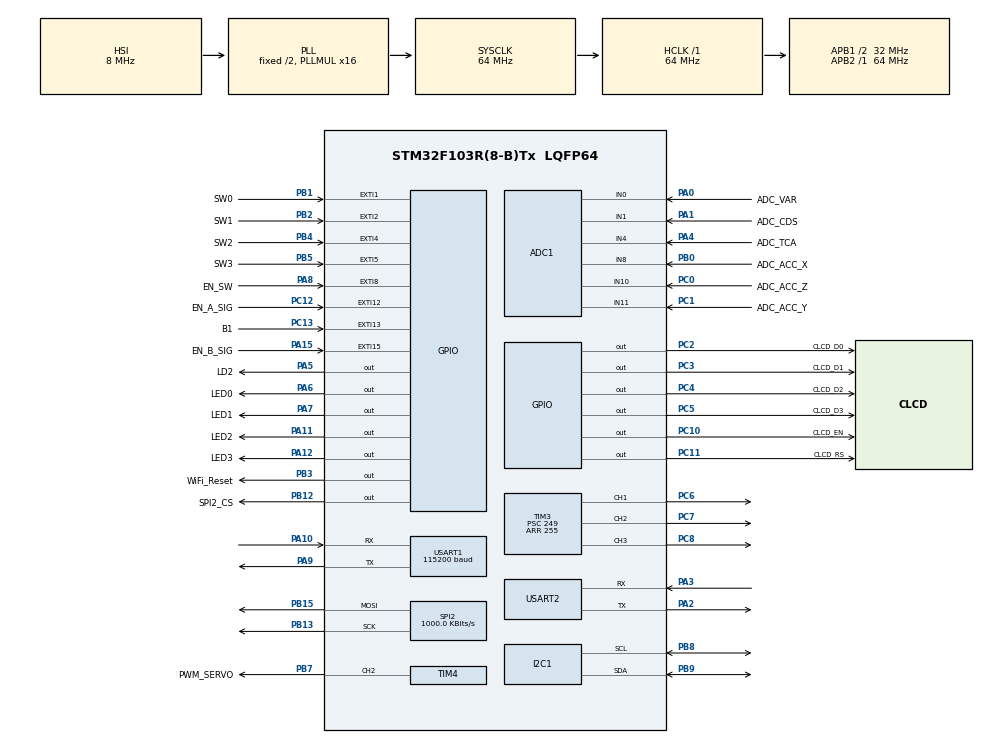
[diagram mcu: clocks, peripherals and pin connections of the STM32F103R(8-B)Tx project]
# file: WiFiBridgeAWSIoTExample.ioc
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ADC1.Channel-0\#ChannelRegularConversion=ADC_CHANNEL_0
ADC1.Channel-1\#ChannelRegularConversion=ADC_CHANNEL_1
ADC1.Channel-2\#ChannelRegularConversion=ADC_CHANNEL_4
ADC1.Channel-3\#ChannelRegularConversion=ADC_CHANNEL_8
ADC1.Channel-4\#ChannelRegularConversion=ADC_CHANNEL_11
ADC1.Channel-5\#ChannelRegularConversion=ADC_CHANNEL_10
ADC1.ContinuousConvMode=ENABLE
ADC1.NbrOfConversion=6
ADC1.NbrOfConversionFlag=1
ADC1.Rank-0\#ChannelRegularConversion=1
ADC1.Rank-1\#ChannelRegularConversion=2
ADC1.Rank-2\#ChannelRegularConversion=3
ADC1.Rank-3\#ChannelRegularConversion=4
ADC1.Rank-4\#ChannelRegularConversion=5
ADC1.Rank-5\#ChannelRegularConversion=6
ADC1.SamplingTime-0\#ChannelRegularConversion=ADC_SAMPLETIME_239CYCLES_5
ADC1.SamplingTime-1\#ChannelRegularConversion=ADC_SAMPLETIME_239CYCLES_5
ADC1.SamplingTime-2\#ChannelRegularConversion=ADC_SAMPLETIME_239CYCLES_5
ADC1.SamplingTime-3\#ChannelRegularConversion=ADC_SAMPLETIME_239CYCLES_5
ADC1.SamplingTime-4\#ChannelRegularConversion=ADC_SAMPLETIME_239CYCLES_5
ADC1.SamplingTime-5\#ChannelRegularConversion=ADC_SAMPLETIME_239CYCLES_5
ADC1.master=1
Dma.ADC1.0.Direction=DMA_PERIPH_TO_MEMORY
Dma.ADC1.0.Instance=DMA1_Channel1
Dma.ADC1.0.MemDataAlignment=DMA_MDATAALIGN_HALFWORD
Dma.ADC1.0.MemInc=DMA_MINC_ENABLE
Dma.ADC1.0.Mode=DMA_CIRCULAR
Dma.ADC1.0.PeriphDataAlignment=DMA_PDATAALIGN_HALFWORD
Dma.ADC1.0.PeriphInc=DMA_PINC_DISABLE
Dma.ADC1.0.Priority=DMA_PRIORITY_LOW
Dma.Request0=ADC1
I2C1.I2C_Mode=I2C_Fast
Mcu.Family=STM32F1
Mcu.Name=STM32F103R(8-B)Tx
Mcu.Package=LQFP64
NVIC.DMA1_Channel1_IRQn=true\:0\:0\:false\:false\:true\:false\:true
NVIC.EXTI15_10_IRQn=true\:0\:0\:false\:false\:true\:true\:true
NVIC.EXTI1_IRQn=true\:0\:0\:false\:false\:true\:true\:true
NVIC.EXTI2_IRQn=true\:0\:0\:false\:false\:true\:true\:true
NVIC.EXTI4_IRQn=true\:0\:0\:false\:false\:true\:true\:true
NVIC.EXTI9_5_IRQn=true\:0\:0\:false\:false\:true\:true\:true
NVIC.PriorityGroup=NVIC_PRIORITYGROUP_4
NVIC.TIM2_IRQn=true\:0\:0\:false\:false\:true\:true\:true
NVIC.USART1_IRQn=true\:0\:0\:false\:false\:true\:true\:false
NVIC.USART2_IRQn=true\:0\:0\:false\:false\:true\:true\:false
PA0-WKUP.GPIO_Label=ADC_VAR
PA0-WKUP.Signal=ADCx_IN0
PA1.GPIO_Label=ADC_CDS
PA1.Signal=ADCx_IN1
PA10.Mode=Asynchronous
PA10.Signal=USART1_RX
PA11.GPIO_Label=LED2
PA11.Signal=GPIO_Output
PA12.GPIO_Label=LED3
PA12.Signal=GPIO_Output
PA13.Mode=Serial_Wire
PA13.Signal=SYS_JTMS-SWDIO
PA14.Mode=Serial_Wire
PA14.Signal=SYS_JTCK-SWCLK
PA15.GPIO_Label=EN_B_SIG
PA15.Signal=GPXTI15
PA2.Mode=Asynchronous
PA2.Signal=USART2_TX
PA3.Mode=Asynchronous
PA3.Signal=USART2_RX
PA4.GPIO_Label=ADC_TCA
PA4.Signal=ADCx_IN4
PA5.GPIO_Label=LD2
PA5.Signal=GPIO_Output
PA6.GPIO_Label=LED0
PA6.Signal=GPIO_Output
PA7.GPIO_Label=LED1
PA7.Signal=GPIO_Output
PA8.GPIO_Label=EN_SW
PA8.GPIO_ModeDefaultEXTI=GPIO_MODE_IT_FALLING
PA8.Signal=GPXTI8
PA9.Mode=Asynchronous
PA9.Signal=USART1_TX
PB0.GPIO_Label=ADC_ACC_X
PB0.Signal=ADCx_IN8
PB1.GPIO_Label=SW0
PB1.GPIO_ModeDefaultEXTI=GPIO_MODE_IT_RISING_FALLING
PB1.Signal=GPXTI1
PB12.GPIO_Label=SPI2_CS
PB12.Signal=GPIO_Output
PB13.Mode=TX_Only_Simplex_Unidirect_Master
PB13.Signal=SPI2_SCK
PB15.Mode=TX_Only_Simplex_Unidirect_Master
PB15.Signal=SPI2_MOSI
PB2.GPIO_Label=SW1
PB2.GPIO_ModeDefaultEXTI=GPIO_MODE_IT_RISING_FALLING
PB2.Signal=GPXTI2
PB3.GPIO_Label=WiFi_Reset
PB3.PinState=GPIO_PIN_SET
PB3.Signal=GPIO_Output
PB4.GPIO_Label=SW2
PB4.GPIO_ModeDefaultEXTI=GPIO_MODE_IT_RISING_FALLING
PB4.Signal=GPXTI4
PB5.GPIO_Label=SW3
PB5.GPIO_ModeDefaultEXTI=GPIO_MODE_IT_RISING_FALLING
PB5.Signal=GPXTI5
PB7.GPIO_Label=PWM_SERVO
PB7.Signal=S_TIM4_CH2
PB8.Mode=I2C
PB8.Signal=I2C1_SCL
PB9.Mode=I2C
PB9.Signal=I2C1_SDA
PC0.GPIO_Label=ADC_ACC_Z
PC0.Signal=ADCx_IN10
PC1.GPIO_Label=ADC_ACC_Y
PC1.Signal=ADCx_IN11
PC10.GPIO_Label=CLCD_EN
PC10.Signal=GPIO_Output
PC11.GPIO_Label=CLCD_RS
PC11.Signal=GPIO_Output
PC12.GPIO_Label=EN_A_SIG
PC12.Signal=GPXTI12
PC13-TAMPER-RTC.GPIO_Label=B1
PC13-TAMPER-RTC.Signal=GPXTI13
PC14-OSC32_IN.Mode=LSE-External-Oscillator
PC14-OSC32_IN.Signal=RCC_OSC32_IN
PC15-OSC32_OUT.Mode=LSE-External-Oscillator
PC15-OSC32_OUT.Signal=RCC_OSC32_OUT
PC2.GPIO_Label=CLCD_D0
PC2.Signal=GPIO_Output
PC3.GPIO_Label=CLCD_D1
PC3.Signal=GPIO_Output
PC4.GPIO_Label=CLCD_D2
PC4.Signal=GPIO_Output
PC5.GPIO_Label=CLCD_D3
PC5.Signal=GPIO_Output
PC6.Signal=S_TIM3_CH1
PC7.Signal=S_TIM3_CH2
PC8.Signal=S_TIM3_CH3
PD0-OSC_IN.Mode=HSE-External-Clock-Source
PD0-OSC_IN.Signal=RCC_OSC_IN
PD1-OSC_OUT.Mode=HSE-External-Clock-Source
PD1-OSC_OUT.Signal=RCC_OSC_OUT
ProjectManager.HeapSize=0x2000
ProjectManager.StackSize=0x400
ProjectManager.TargetToolchain=STM32CubeIDE
RCC.ADCPresc=RCC_ADCPCLK2_DIV8
RCC.AHBFreq_Value=64000000
RCC.APB1CLKDivider=RCC_HCLK_DIV2
RCC.APB1Freq_Value=32000000
RCC.APB1TimFreq_Value=64000000
RCC.APB2Freq_Value=64000000
RCC.APB2TimFreq_Value=64000000
RCC.HCLKFreq_Value=64000000
RCC.PLLMUL=RCC_PLL_MUL16
RCC.SYSCLKFreq_VALUE=64000000
RCC.SYSCLKSource=RCC_SYSCLKSOURCE_PLLCLK
RCC.USBFreq_Value=64000000
SH.ADCx_IN0.0=ADC1_IN0,IN0
SH.ADCx_IN1.0=ADC1_IN1,IN1
SH.ADCx_IN10.0=ADC1_IN10,IN10
SH.ADCx_IN11.0=ADC1_IN11,IN11
SH.ADCx_IN4.0=ADC1_IN4,IN4
SH.ADCx_IN8.0=ADC1_IN8,IN8
SH.S_TIM3_CH1.0=TIM3_CH1,PWM Generation1 CH1
SH.S_TIM3_CH2.0=TIM3_CH2,PWM Generation2 CH2
SH.S_TIM3_CH3.0=TIM3_CH3,PWM Generation3 CH3
SH.S_TIM4_CH2.0=TIM4_CH2,PWM Generation2 CH2
SPI2.BaudRatePrescaler=SPI_BAUDRATEPRESCALER_32
SPI2.CLKPhase=SPI_PHASE_2EDGE
SPI2.CalculateBaudRate=1000.0 KBits/s
SPI2.Direction=SPI_DIRECTION_2LINES
SPI2.Mode=SPI_MODE_MASTER
SPI2.VirtualType=VM_MASTER
TIM2.Period=49999
TIM2.Prescaler=127
TIM3.Channel-PWM\ Generation1\ CH1=TIM_CHANNEL_1
TIM3.Channel-PWM\ Generation2\ CH2=TIM_CHANNEL_2
TIM3.Channel-PWM\ Generation3\ CH3=TIM_CHANNEL_3
TIM3.Period=255
TIM3.Prescaler=249
TIM4.Channel-PWM\ Generation2\ CH2=TIM_CHANNEL_2
TIM4.OCPolarity_2=TIM_OCPOLARITY_LOW
TIM4.Period=19999
TIM4.Prescaler=63
TIM4.Pulse-PWM\ Generation2\ CH2=1500
USART1.BaudRate=115200
USART1.VirtualMode=VM_ASYNC
USART2.VirtualMode=VM_ASYNC
VP_TIM2_VS_ClockSourceINT.Mode=Internal
VP_TIM3_VS_ClockSourceINT.Mode=Internal
VP_TIM4_VS_ClockSourceINT.Mode=Internal
board=custom

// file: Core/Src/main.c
/* USER CODE BEGIN Header */
/**
  ******************************************************************************
  * @file           : main.c
  * @brief          : Main program body
  ******************************************************************************
  * @attention
  *
  * <h2><center>&copy; Copyright (c) 2022 STMicroelectronics.
  * All rights reserved.</center></h2>
  *
  * This software component is licensed by ST under BSD 3-Clause license,
  * the "License"; You may not use this file except in compliance with the
  * License. You may obtain a copy of the License at:
  *                        opensource.org/licenses/BSD-3-Clause
  *
  ******************************************************************************
  */
/* USER CODE END Header */
#include "main.h"

/* USER CODE BEGIN Includes */
#include <stdio.h>
#include <stdlib.h>
#include <string.h>
#include <ctype.h>
#include <math.h>

#include "hdc1080\hdc1080.h"
#include "clcd\clcd.h"

#include "rb.h"
/* USER CODE END Includes */

/* USER CODE BEGIN PM */
//TODO: Set AP / AWSIoT info
#define AP_SSID           " "
#define AP_PWD            " "
#define AP_SECTYPE        "WPA"

#define AWSIoT_ENDPOINT   " "
#define AWSIoT_CLIENTID   " "

//TODO: Enable/Disable Debug Message and Bypass WiFiBridge to PC
#define WIFIBRIDGE_DEBUG      0
#define WIFIBRIDGE_BYPASS     0

#if WIFIBRIDGE_DEBUG
#define DPRINTF(args...) printf(args)
#else
#define DPRINTF(args...)
#endif

#define AT_RECV_LINE_MAX  30

// Publish Topic List
#define PUB_TOPIC_VAR     "EVBDemo/var"
#define PUB_TOPIC_PHOTO   "EVBDemo/photo"
#define PUB_TOPIC_TEMP    "EVBDemo/temp"
#define PUB_TOPIC_ACC     "EVBDemo/3axis"
#define PUB_TOPIC_ENC     "EVBDemo/encoder"
#define PUB_TOPIC_BH002   "EVBDemo/bh002"
#define PUB_TOPIC_SW      "EVBDemo/switch"

// Subscribe Topic List
#define SUB_TOPIC_LED     "EVBDemo/LED"
#define SUB_TOPIC_RGB     "EVBDemo/RGB"
#define SUB_TOPIC_DAC     "EVBDemo/DAC"
#define SUB_TOPIC_SERVO   "EVBDemo/ServoMotor"
#define SUB_TOPIC_CLCD    "EVBDemo/CLCD"

// Raw data ranges from -3g to 3g, sensitivity 330mV/g
#define ACC_RAW_MIN       819
#define ACC_RAW_MAX       3276
// Gravitational acceleration ranges [g]
#define ACC_GRAVITY_MIN   -3
#define ACC_GRAVITY_MAX   3

#define CONVERT_SCALE(x,inMin,inMax,outMin,outMax) ((((float)x - inMin) * ((float)outMax - outMin)) / ((float)inMax - inMin) + outMin)
/* USER CODE END PM */

ADC_HandleTypeDef hadc1;
DMA_HandleTypeDef hdma_adc1;

I2C_HandleTypeDef hi2c1;

SPI_HandleTypeDef hspi2;

TIM_HandleTypeDef htim2;
TIM_HandleTypeDef htim3;
TIM_HandleTypeDef htim4;

UART_HandleTypeDef huart1;
UART_HandleTypeDef huart2;

/* USER CODE BEGIN PV */
//TODO: Fill certificate and key of own device(client)
const char certificate[] =
    "-----BEGIN CERTIFICATE-----\r\n"
    "MIIDWTCCAkGgAwIBAgIUGk10t7Jo3jVUA7wolTqCCnE42ZQwDQYJKoZIhvcNAQEL\r\n"
    " ... "
    "-----END CERTIFICATE-----\r\n";

const char privateKey[] =
    "-----BEGIN RSA PRIVATE KEY-----\r\n"
    "MIIEowIBAAKCAQEAycuVFiGODVtDHo8kd7lxSyPUTaKM4+nxDZWKtFRzVJWO4m4m\r\n"
    " ... "
    "-----END RSA PRIVATE KEY-----\r\n";

RingFifo_t gUart1Fifo, gUart2Fifo;
volatile int gEnCoderCnt;
volatile uint16_t gADCxConvertedValue[6];
volatile uint8_t gRGBPulse[3];
volatile int gfPub, gfSoftReset;

static RingFifo_t *WiFi_RingBuf_Handle;
static volatile uint32_t interval_count, interval_count_start;
static char sStr[2048] = {0};
/* USER CODE END PV */

void SystemClock_Config(void);
static void MX_GPIO_Init(void);
static void MX_DMA_Init(void);
static void MX_ADC1_Init(void);
static void MX_I2C1_Init(void);
static void MX_SPI2_Init(void);
static void MX_TIM2_Init(void);
static void MX_TIM3_Init(void);
static void MX_TIM4_Init(void);
static void MX_USART1_UART_Init(void);
static void MX_USART2_UART_Init(void);
/* USER CODE BEGIN PFP */
#ifdef __GNUC__
#define PUTCHAR_PROTOTYPE int __io_putchar(int ch)
#else
#define PUTCHAR_PROTOTYPE int fputc(int ch, FILE *f)
#endif /* __GNUC__ */

/**
  * @brief  Retargets the C library printf function to the USART.
  * @param  None
  * @retval None
  */
PUTCHAR_PROTOTYPE
{
  /* Place your implementation of fputc here */
  /* e.g. write a character to the UART2 and Loop until the end of transmission */
  if (ch == '\n')
    HAL_UART_Transmit (&huart2, (uint8_t *) "\r", 1, 0xFFFF);
  HAL_UART_Transmit (&huart2, (uint8_t *) & ch, 1, 0xFFFF);

  return ch;
}

/**
 * @brief   DAC7512 Write through SPI
 * @param   data   unsigned short data for send through SPI
 * @retval  0 is success to send the data, 1 is fail
 */
uint8_t
DAC7512_write (unsigned short data)
{
  uint8_t buff[2], ret;

  HAL_GPIO_WritePin (SPI2_CS_GPIO_Port, SPI2_CS_Pin, GPIO_PIN_RESET);

  buff[0] = (uint8_t) (data >> 8);
  buff[1] = (uint8_t) data;

  ret = HAL_SPI_Transmit (&hspi2, buff, 2, 1000);

  if (ret)
    return ret;

  HAL_GPIO_WritePin (SPI2_CS_GPIO_Port, SPI2_CS_Pin, GPIO_PIN_SET);

  return 0;
}

/* internal function */
static void Countdown(int ms) {
  interval_count = (uint32_t)ms;
  interval_count_start = HAL_GetTick();
}

static uint8_t Expired(void) {
  return ((HAL_GetTick() - interval_count_start) >= interval_count);
}

static void Serial_clearbuf(void) {
  RB_clear(WiFi_RingBuf_Handle);
}

static uint8_t ReadStringUntil(char *str, char until) {
  uint8_t i = 0;

  do {
      if (RB_isempty(WiFi_RingBuf_Handle))
        return i;  // if not received yet, return read count
      str[i++] = RB_read(WiFi_RingBuf_Handle);
  } while((str[i - 1] != until));
  str[i] = 0;

  return 0;
}

// ReadATresponseLine
// Receive until timeout or 'OK\r' or 'ERRxx\r'
int ReadATresponseLine(char *rvLine, int nLineBufSize,
                       const char *responseFilter,
                       unsigned long delayMs) {
  int nbLine = 0, idx = 0, rvLineLen = 0;
  char *aLine[AT_RECV_LINE_MAX] = {0};
  char *pszSubstr = NULL;
  int i, ret = 3;

  Countdown(delayMs);
  if (rvLine)
    memset(rvLine, 0, nLineBufSize);

  do {
    if (!RB_isempty(WiFi_RingBuf_Handle)) {
      HAL_Delay(1);

      idx = ReadStringUntil(&sStr[idx], '\r');
      if (idx)
          continue; // if can't read until '\r', continue

      int nLen = strlen(sStr);

      if (nLen > 1 ) {
          if (strncmp(sStr, "\n\r", 2) == 0)
            continue;
        aLine[nbLine] = (char *)malloc(nLen + 1);
        if (aLine[nbLine] == NULL)
          DPRINTF ("Malloc Fail!\n");

        strncpy(aLine[nbLine], sStr, nLen);
        aLine[nbLine][nLen] = 0;

        pszSubstr = strstr(aLine[nbLine], "OK\n");
        if (pszSubstr != NULL) {
          DPRINTF ("Found OK\n");
          nbLine++;
          ret = 0;
          break;
        }
        pszSubstr = strstr(aLine[nbLine], "ERR");
        if (pszSubstr != NULL) {
          if (*(pszSubstr + 5) == '\n') // parse to "ERR%02\n" format
            {
              DPRINTF ("Found ERR\n");
              nbLine++;
              ret = 1;
              break;
            }
        }
        nbLine++;
      }
    }
    if (nbLine >= AT_RECV_LINE_MAX) {
      break;
    }
  } while (!Expired());

  DPRINTF ("Total Line %d\n", nbLine);
  for (i = 0; i < nbLine; i++) {
    DPRINTF ("line[%d]: %s", i, aLine[i]);

    if (rvLine) {
        int aLineLen = strlen(aLine[i]);
        if (responseFilter == NULL) {
            // Not filtering response
            if (nLineBufSize > rvLineLen + aLineLen) {
              strcat(rvLine, aLine[i]);
              rvLineLen += aLineLen;
            }
            else
              DPRINTF ("Out of rvLineBuf\n");
        } else if (strlen(responseFilter) > 0) {
            // Filtering Response
            char *pszSubstr = NULL;

            pszSubstr = strstr(aLine[i], responseFilter);
            if (pszSubstr != NULL) {
                pszSubstr += strlen(responseFilter);
                while (isspace((int)*pszSubstr)) // trim heading
                  {
                    pszSubstr++;
                  }
                char *pTemp = pszSubstr;
                while (pTemp < (aLine[i] + strlen(aLine[i]))) // trim ending
                  {
                    if (*pTemp == '\n' || *pTemp == '\r') // remove cariage return and line feed
                      {
                        *pTemp = 0; // zero terminate string
                        break;
                      }
                    pTemp++;
                  }

                DPRINTF ("Filtered response: %s\n", pszSubstr);
                if (nLineBufSize > aLineLen)
                  strcpy(rvLine, pszSubstr);
                else
                  DPRINTF ("Out of rvLineBuf\n");
            }
        } else {
            // Not filtering response
            if (nLineBufSize > rvLineLen + aLineLen) {
              strcat(rvLine, aLine[i]);
              rvLineLen += aLineLen;
            }
            else
              DPRINTF ("Out of rvLineBuf\n");
        }
    }

    free(aLine[i]);
  }

  return ret;
}
// sendATCmd
/**
 * @brief   Send AT command and Receive response
 *
 * @details
 * @note
 *
 * @param   pCmd            Reference to the Command Buffer
 * @param   pResponse       Reference to the Response Buffer, If not use can set NULL
 * @param   responseBufSize
 * @param   pResponseFilter Filter string in response, If use response buffer copy from pointer after filter string to CR/LF.
 * @param   waitDelayMs     wait Delay for Response, If set 0, It immediate return(Non-Block)
 *
 * @return  Success 0, Fail 1 or 3. If not zero wait delay, it receive response data.
 *          When receive response,
 *          it's 'OK' return 0,
 *          it's 'ERR' return 1,
 *          when timeout return 3
 * */
int SendATcmd(const char *pCmd, char *pResponse, int responseBufSize,
              const char *pResponseFilter,
              unsigned long waitDelayMs) {
  int ret = 0;

  memset(pResponse, 0, responseBufSize);

  DPRINTF ("sendATcmd: %s", pCmd);

  ret = HAL_UART_Transmit(&huart1, (uint8_t *)pCmd, strlen(pCmd), waitDelayMs + 500);

  if (waitDelayMs && !ret)
    {
      ret = ReadATresponseLine(pResponse, responseBufSize, pResponseFilter, waitDelayMs);

      if (ret == 0) {
        DPRINTF ("...ATcmd OK\n");
      } else if (ret == 1) {
        DPRINTF ("...ATcmd Fails\n");
      } else {
        DPRINTF ("...ATcmd not response\n");
      }
    }

  return ret;
}

#define WIFI_RESET_PORT       WiFi_Reset_GPIO_Port
#define WIFI_RESET_PIN        WiFi_Reset_Pin
void WiFiBridge_SoftReset()
{
  HAL_GPIO_WritePin(WIFI_RESET_PORT, WIFI_RESET_PIN, GPIO_PIN_RESET);
  HAL_Delay(5);
  HAL_GPIO_WritePin(WIFI_RESET_PORT, WIFI_RESET_PIN, GPIO_PIN_SET);
  HAL_Delay(5);
}

int WiFiBridge_Init(void)
{
  int ret;
  char cmd[64];

  Serial_clearbuf();
  sprintf(cmd, "at\n");
  do {
      ret = SendATcmd(cmd, NULL, 0, NULL, 1000);
  }while (ret);

  Serial_clearbuf();
  sprintf(cmd, "echo -n 0\n");
  ret = SendATcmd(cmd, NULL, 0, NULL, 1000);

  return ret;
}

int WiFiBridge_WLANConn(char *pSSID, char *pPWD, char *pSecType, char *pSubBuf, int subBufSize)
{
  int ret;
  char cmd[64];

  Serial_clearbuf();
  sprintf(cmd, "wlancfg -s \"%s\" -p \"%s\" -t %s\n", pSSID, pPWD, pSecType);
  ret = SendATcmd(cmd, pSubBuf, subBufSize, NULL, 1000);

  sprintf(cmd, "wlanconnect\n");
  ret = SendATcmd(cmd, &pSubBuf[strlen(pSubBuf)], subBufSize - strlen(pSubBuf), NULL, 10000);

  return ret;
}

int WiFiBridge_AWSIoTCertUpload(const char *pCert)
{
  int ret;
  char cmd[64];

  Serial_clearbuf();
  sprintf(cmd, "awsiotupload -c\n");
  ret = SendATcmd(cmd, NULL, 0, NULL, 0);
  ret = SendATcmd(pCert, NULL, 0, NULL, 5000);

  return ret;
}

int WiFiBridge_AWSIoTKeyUpload(const char *pKey)
{
  int ret;
  char cmd[64];

  Serial_clearbuf();
  sprintf(cmd, "awsiotupload -k\n");
  ret = SendATcmd(cmd, NULL, 0, NULL, 0);
  ret = SendATcmd(pKey, NULL, 0, NULL, 5000);

  return ret;
}

int WiFiBridge_AWSIoTStart(char *pEndPoint, char *pClientID, char *pSubBuf, int subBufSize)
{
  int ret;
  char cmd[256];

  Serial_clearbuf();
  sprintf(cmd, "awsiotcfg -e %s -c %s\n", pEndPoint, pClientID);
  ret = SendATcmd(cmd, pSubBuf, subBufSize, NULL, 1000);

  sprintf(cmd, "awsiotconnect\n");
  ret = SendATcmd(cmd, &pSubBuf[strlen(pSubBuf)], subBufSize - strlen(pSubBuf), NULL, 10000);

  return ret;
}

int WiFiBridge_AWSIoTRegSub(char *pTopic, char *pSubBuf, int subBufSize)
{
  int ret;
  char cmd[64];

  Serial_clearbuf();
  sprintf(cmd, "awsiotcmd -t \"%s\" -s\n", pTopic);
  ret = SendATcmd(cmd, pSubBuf, subBufSize, NULL, 1000);

  return ret;
}

int WiFiBridge_AWSIoTPublish(char *pTopic, char *pMessage, char *pSubBuf, int subBufSize)
{
  int ret;
  char cmd[64];

  Serial_clearbuf();
  sprintf(cmd, "awsiotcmd -t \"%s\" -p \"%s\"\n", pTopic, pMessage);
  ret = SendATcmd(cmd, pSubBuf, subBufSize, NULL, 1000);

  return ret;
}

int WiFiBridge_AWSIoTPublish_NonBlock(char *pTopic, char *pMessage)
{
  int ret;
  char cmd[64];

  sprintf(cmd, "awsiotcmd -t \"%s\" -p \"%s\"\n", pTopic, pMessage);
  ret = SendATcmd(cmd, NULL, 0, NULL, 0);

  return ret;
}

int Parse_Subscribe_Message(char *pMsg)
{
  int ret = 1;
  char *subTopic, *subMsg;

  int servo_angle, servo_pulse;
  char *clcd_str;

  // subscribe callback msg format - "<Topic>\t<Message>\n\r"
  subTopic = strtok(pMsg, "\t");
  subMsg = strtok(NULL, "\n\r");

  if (subTopic && subMsg)
    {
      printf("Subscribe [%s]: %s\n", subTopic, subMsg);

      //SUB_TOPIC_LED
      if (!strncmp(subTopic, SUB_TOPIC_LED, strlen(SUB_TOPIC_LED)))
        {
          HAL_GPIO_WritePin(LED0_GPIO_Port, LED0_Pin, atoi(strtok(subMsg, ",")));
          HAL_GPIO_WritePin(LED1_GPIO_Port, LED1_Pin, atoi(strtok(NULL, ",")));
          HAL_GPIO_WritePin(LED2_GPIO_Port, LED2_Pin, atoi(strtok(NULL, ",")));
          HAL_GPIO_WritePin(LED3_GPIO_Port, LED3_Pin, atoi(strtok(NULL, ",")));
        }

      //SUB_TOPIC_RGB
      if (!strncmp(subTopic, SUB_TOPIC_RGB, strlen(SUB_TOPIC_RGB)))
        {
          __HAL_TIM_SET_COMPARE(&htim3, TIM_CHANNEL_2, atoi(strtok(subMsg, ","))); // Red
          __HAL_TIM_SET_COMPARE(&htim3, TIM_CHANNEL_3, atoi(strtok(NULL, ","))); // Green
          __HAL_TIM_SET_COMPARE(&htim3, TIM_CHANNEL_1, atoi(strtok(NULL, ","))); // Blue

        }

      //SUB_TOPIC_DAC
      if (!strncmp(subTopic, SUB_TOPIC_DAC, strlen(SUB_TOPIC_DAC)))
        {
          DAC7512_write(atoi(subMsg));
        }

      //SUB_TOPIC_SERVO
      if (!strncmp(subTopic, SUB_TOPIC_SERVO, strlen(SUB_TOPIC_SERVO)))
        {
          servo_angle = atoi(subMsg);
          if (servo_angle > 90)
            servo_angle = 90;
          else if (servo_angle < -90)
            servo_angle = -90;

          servo_pulse = ((int) ((servo_angle + 90) * 1000 / 180)) + 1000;
          __HAL_TIM_SET_COMPARE(&htim4, TIM_CHANNEL_2, servo_pulse);
        }

      //SUB_TOPIC_CLCD
      if (!strncmp(subTopic, SUB_TOPIC_CLCD, strlen(SUB_TOPIC_CLCD)))
        {
          CLCD_Clear();

          strsep(&subMsg, "\"");
          clcd_str = strsep(&subMsg, "\"");
          CLCD_Puts(0, 0, clcd_str);

          strsep(&subMsg, "\"");
          clcd_str = strsep(&subMsg, "\"");
          CLCD_Puts(0, 1, clcd_str);
        }
      ret = 0;
    }
  else
    {
      DPRINTF("sub token fail!\n");
      DPRINTF("%s", pMsg);
      ret = 1;
    }

  return ret;
}

int WiFiBridge_ReceiveHandler(char *pSubBuf)
{
  static uint16_t idx = 0;
  int ret = 1;

  if (!RB_isempty(WiFi_RingBuf_Handle))
    {
      HAL_Delay(5);
      idx = ReadStringUntil(&pSubBuf[idx], '\r');
      if (!idx)
        {
          DPRINTF("[RecvHandle] %s", pSubBuf);
          ret = 0;
        }
      else
        {
          DPRINTF("[Recved] %d\n", idx);
          for(int i=0; i<idx; i++)
            {
              DPRINTF("%c", pSubBuf[i]);
            }
          DPRINTF("\n");
        }
    }
  return ret;
}

/* USER CODE END PFP */

int main(void)
{

  /* MCU Configuration--------------------------------------------------------*/

  /* Reset of all peripherals, Initializes the Flash interface and the Systick. */
  HAL_Init();

  /* Configure the system clock */
  SystemClock_Config();

  /* Initialize all configured peripherals */
  MX_GPIO_Init();
  MX_DMA_Init();
  MX_ADC1_Init();
  MX_I2C1_Init();
  MX_SPI2_Init();
  MX_TIM2_Init();
  MX_TIM3_Init();
  MX_TIM4_Init();
  MX_USART1_UART_Init();
  MX_USART2_UART_Init();
  /* USER CODE BEGIN 2 */
  printf ("WiFiBridge AWS IoT Example P/G\n");
  printf ("SYSCLK Frequency = %9ld\n", HAL_RCC_GetSysClockFreq ());
  printf ("HCLK   Frequency = %9ld\n", HAL_RCC_GetHCLKFreq ());
  printf ("PCLK   Frequency = %9ld\n", HAL_RCC_GetPCLK1Freq ());

  /* USER CODE END 2 */

  /* Infinite loop */
  /* USER CODE BEGIN WHILE */
  uint16_t I2C_id;
  uint8_t bat_stat, hdc_humi;
  float hdc_temp, tc1047_temp;
  float grav_accel[3];

  char pubMsg[64] = { 0 };
  char subBuf[256] = { 0 };

  char *pSubMsg;
  int i;

  /* Start ADC Calibration */
  if (HAL_ADCEx_Calibration_Start (&hadc1) != HAL_OK)
    {
      Error_Handler ();
    }
  printf ("ADC Calibration Done!\n");

  /* Start ADC in DMA mode,
   *
   * ADC Rank1 - VAR,
   *     Rank2 - CDS,
   *     Rank3 - TC1047
   *     Rank4 ~ 6 - ADXL335 x/y/z
   */
  if (HAL_ADC_Start_DMA (&hadc1, (uint32_t*) &gADCxConvertedValue, 6) != HAL_OK)
    {
      Error_Handler ();
    }
  printf ("Start ADC in DMA Mode\n");

  /* Init HDC1080 */
  // HDC1080 id read to I2C
  HAL_Delay(50);
  hdc1080_read_reg (&hi2c1, HDC1080_ID_DEV, &I2C_id);
  hdc1080_init (&hi2c1, HDC1080_T_RES_14, HDC1080_RH_RES_14, 1, &bat_stat);
  printf ("I2C Initialization Done!\n");
  printf ("HDC1080's ID = %X\n", I2C_id);

  /* TIM4 PWM start for Servo */
  HAL_TIM_PWM_Start (&htim4, TIM_CHANNEL_2);

  /* TIM3 PWM start for RGB LED */
  HAL_TIM_PWM_Start (&htim3, TIM_CHANNEL_1);
  HAL_TIM_PWM_Start (&htim3, TIM_CHANNEL_2);
  HAL_TIM_PWM_Start (&htim3, TIM_CHANNEL_3);
  printf ("Start PWM for Servo & RGB LED\n");

  /* Init LCD */
  CLCD_Init (16, 2);
  printf ("CLCD Initialization Done!\n");

  /* Init RingBuffer */
  if (RB_init (&gUart1Fifo, 2048))
    {
      Error_Handler ();
    }
  if (RB_init (&gUart2Fifo, 2048))
    {
      Error_Handler ();
    }
  __HAL_UART_ENABLE_IT(&huart1, UART_IT_RXNE);
  __HAL_UART_ENABLE_IT(&huart2, UART_IT_RXNE);

  /* Init WiFiBridge */
  WiFi_RingBuf_Handle = &gUart1Fifo;

  // Init Boot time takes 2 sec
  WiFiBridge_SoftReset();
  HAL_Delay(2000);

  WiFiBridge_Init();
  printf ("WiFiBridge Initialization Done!\n");

  if (WiFiBridge_WLANConn(AP_SSID, AP_PWD, AP_SECTYPE, NULL, 0))
    {
      printf("WLAN Connect Fail...\n");
      Error_Handler ();
    }
  printf("\n");
  printf("WLAN Connect to AP: [%s]\n", AP_SSID);

  WiFiBridge_AWSIoTCertUpload(certificate);
  WiFiBridge_AWSIoTKeyUpload(privateKey);
  printf("Upload Certificate & Key file Done!\n");

  if (WiFiBridge_AWSIoTStart(AWSIoT_ENDPOINT, AWSIoT_CLIENTID, NULL, 0))
    {
      printf("AWSIoT Connect Fail...\n");
      Error_Handler ();
    }
  printf("AWSIoT Connect Success!\n");

  WiFiBridge_AWSIoTRegSub(SUB_TOPIC_LED, NULL, 0);
  WiFiBridge_AWSIoTRegSub(SUB_TOPIC_RGB, NULL, 0);
  WiFiBridge_AWSIoTRegSub(SUB_TOPIC_DAC, NULL, 0);
  WiFiBridge_AWSIoTRegSub(SUB_TOPIC_SERVO, NULL, 0);
  WiFiBridge_AWSIoTRegSub(SUB_TOPIC_CLCD, NULL, 0);
  printf("AWSIoT Register subscribe topic Done!\n");

  /* Start TIM2 Interrupt (100msec) */
  HAL_TIM_Base_Start_IT (&htim2);

  printf("Start AWS IoT Demo!\n");
  printf("\n");
  while (1)
  {
#if WIFIBRIDGE_BYPASS
      uint8_t ch;
      // Bypass UART data
      if (!RB_isempty (&gUart1Fifo))
        {
          ch = RB_read(&gUart1Fifo);
          HAL_UART_Transmit(&huart2, &ch, 1, 0xFFFF);
        }
      if (!RB_isempty (&gUart2Fifo))
        {
          ch = RB_read(&gUart2Fifo);
          HAL_UART_Transmit(&huart1, &ch, 1, 0xFFFF);
        }

      // Check Reset, It Flag is set when push B1 switch.
      if (gfSoftReset)
        {
          gfSoftReset = 0;

          // Software Reset Boot time takes 1 sec
          WiFiBridge_SoftReset();
          HAL_Delay(1000);

          RB_clear(&gUart1Fifo);
        }
#else
      // Check Publish flag (1000msec)
      if (gfPub == 1)
        {
          gfPub = 0;

          // data acquisition
          hdc1080_measure (&hi2c1, &hdc_temp, &hdc_humi);
          tc1047_temp = (float) (((gADCxConvertedValue[2] * 3.3 / 4096 * 1000) - 500) / 10);

          for (i = 0; i < 3; i++)
            {
              if (gADCxConvertedValue[i + 3] < ACC_RAW_MIN)
                gADCxConvertedValue[i + 3] = ACC_RAW_MIN;

              if (gADCxConvertedValue[i + 3] > ACC_RAW_MAX)
                gADCxConvertedValue[i + 3] = ACC_RAW_MAX;

              // convert to gravitation acceleration [g]
              grav_accel[i] = CONVERT_SCALE(gADCxConvertedValue[i + 3], ACC_RAW_MIN, ACC_RAW_MAX, ACC_GRAVITY_MIN, ACC_GRAVITY_MAX);
            }

          //PUB_TOPIC_VAR
          sprintf(pubMsg, "%d", gADCxConvertedValue[0]);
          WiFiBridge_AWSIoTPublish_NonBlock(PUB_TOPIC_VAR, pubMsg);

          //PUB_TOPIC_PHOTO
          sprintf(pubMsg, "%d", gADCxConvertedValue[1]);
          WiFiBridge_AWSIoTPublish_NonBlock(PUB_TOPIC_PHOTO, pubMsg);

          //PUB_TOPIC_TEMP
          sprintf(pubMsg, "%.1f", tc1047_temp);
          WiFiBridge_AWSIoTPublish_NonBlock(PUB_TOPIC_TEMP, pubMsg);

          //PUB_TOPIC_ACC
          sprintf(pubMsg, "%.2f,%.2f,%.2f", grav_accel[0], grav_accel[1], grav_accel[2]);
          WiFiBridge_AWSIoTPublish_NonBlock(PUB_TOPIC_ACC, pubMsg);

          //PUB_TOPIC_ENC
          sprintf(pubMsg, "%d", gEnCoderCnt);
          WiFiBridge_AWSIoTPublish_NonBlock(PUB_TOPIC_ENC, pubMsg);

          //PUB_TOPIC_BH002
          sprintf(pubMsg, "%.1f,%d", hdc_temp, hdc_humi);
          WiFiBridge_AWSIoTPublish_NonBlock(PUB_TOPIC_BH002, pubMsg);

          //PUB_TOPIC_SW
          sprintf(pubMsg, "%d,%d,%d,%d",
                  !HAL_GPIO_ReadPin(SW0_GPIO_Port, SW0_Pin),
                  !HAL_GPIO_ReadPin(SW1_GPIO_Port, SW1_Pin),
                  !HAL_GPIO_ReadPin(SW2_GPIO_Port, SW2_Pin),
                  !HAL_GPIO_ReadPin(SW3_GPIO_Port, SW3_Pin));
          WiFiBridge_AWSIoTPublish_NonBlock(PUB_TOPIC_SW, pubMsg);

        }

      // Check Receive data
      if (!WiFiBridge_ReceiveHandler(subBuf))
        {
          // Check '>>' for subscribe message
          pSubMsg = strstr(subBuf, ">>");
          if (pSubMsg)
            Parse_Subscribe_Message(pSubMsg + 2);
          else
            DPRINTF ("except: %s\n", subBuf);

          memset(subBuf, 0, sizeof(subBuf));
        }

#endif
    /* USER CODE END WHILE */

  }
}

void SystemClock_Config(void)
{
  RCC_OscInitTypeDef RCC_OscInitStruct = {0};
  RCC_ClkInitTypeDef RCC_ClkInitStruct = {0};
  RCC_PeriphCLKInitTypeDef PeriphClkInit = {0};

  /** Initializes the RCC Oscillators according to the specified parameters
  * in the RCC_OscInitTypeDef structure.
  */
  RCC_OscInitStruct.OscillatorType = RCC_OSCILLATORTYPE_HSI;
  RCC_OscInitStruct.HSIState = RCC_HSI_ON;
  RCC_OscInitStruct.HSICalibrationValue = RCC_HSICALIBRATION_DEFAULT;
  RCC_OscInitStruct.PLL.PLLState = RCC_PLL_ON;
  RCC_OscInitStruct.PLL.PLLSource = RCC_PLLSOURCE_HSI_DIV2;
  RCC_OscInitStruct.PLL.PLLMUL = RCC_PLL_MUL16;
  if (HAL_RCC_OscConfig(&RCC_OscInitStruct) != HAL_OK)
  {
    Error_Handler();
  }
  /** Initializes the CPU, AHB and APB buses clocks
  */
  RCC_ClkInitStruct.ClockType = RCC_CLOCKTYPE_HCLK|RCC_CLOCKTYPE_SYSCLK
                              |RCC_CLOCKTYPE_PCLK1|RCC_CLOCKTYPE_PCLK2;
  RCC_ClkInitStruct.SYSCLKSource = RCC_SYSCLKSOURCE_PLLCLK;
  RCC_ClkInitStruct.AHBCLKDivider = RCC_SYSCLK_DIV1;
  RCC_ClkInitStruct.APB1CLKDivider = RCC_HCLK_DIV2;
  RCC_ClkInitStruct.APB2CLKDivider = RCC_HCLK_DIV1;

  if (HAL_RCC_ClockConfig(&RCC_ClkInitStruct, FLASH_LATENCY_2) != HAL_OK)
  {
    Error_Handler();
  }
  PeriphClkInit.PeriphClockSelection = RCC_PERIPHCLK_ADC;
  PeriphClkInit.AdcClockSelection = RCC_ADCPCLK2_DIV8;
  if (HAL_RCCEx_PeriphCLKConfig(&PeriphClkInit) != HAL_OK)
  {
    Error_Handler();
  }
}

static void MX_ADC1_Init(void)
{

  ADC_ChannelConfTypeDef sConfig = {0};

  /** Common config
  */
  hadc1.Instance = ADC1;
  hadc1.Init.ScanConvMode = ADC_SCAN_ENABLE;
  hadc1.Init.ContinuousConvMode = ENABLE;
  hadc1.Init.DiscontinuousConvMode = DISABLE;
  hadc1.Init.ExternalTrigConv = ADC_SOFTWARE_START;
  hadc1.Init.DataAlign = ADC_DATAALIGN_RIGHT;
  hadc1.Init.NbrOfConversion = 6;
  if (HAL_ADC_Init(&hadc1) != HAL_OK)
  {
    Error_Handler();
  }
  /** Configure Regular Channel
  */
  sConfig.Channel = ADC_CHANNEL_0;
  sConfig.Rank = ADC_REGULAR_RANK_1;
  sConfig.SamplingTime = ADC_SAMPLETIME_239CYCLES_5;
  if (HAL_ADC_ConfigChannel(&hadc1, &sConfig) != HAL_OK)
  {
    Error_Handler();
  }
  /** Configure Regular Channel
  */
  sConfig.Channel = ADC_CHANNEL_1;
  sConfig.Rank = ADC_REGULAR_RANK_2;
  if (HAL_ADC_ConfigChannel(&hadc1, &sConfig) != HAL_OK)
  {
    Error_Handler();
  }
  /** Configure Regular Channel
  */
  sConfig.Channel = ADC_CHANNEL_4;
  sConfig.Rank = ADC_REGULAR_RANK_3;
  if (HAL_ADC_ConfigChannel(&hadc1, &sConfig) != HAL_OK)
  {
    Error_Handler();
  }
  /** Configure Regular Channel
  */
  sConfig.Channel = ADC_CHANNEL_8;
  sConfig.Rank = ADC_REGULAR_RANK_4;
  if (HAL_ADC_ConfigChannel(&hadc1, &sConfig) != HAL_OK)
  {
    Error_Handler();
  }
  /** Configure Regular Channel
  */
  sConfig.Channel = ADC_CHANNEL_11;
  sConfig.Rank = ADC_REGULAR_RANK_5;
  if (HAL_ADC_ConfigChannel(&hadc1, &sConfig) != HAL_OK)
  {
    Error_Handler();
  }
  /** Configure Regular Channel
  */
  sConfig.Channel = ADC_CHANNEL_10;
  sConfig.Rank = ADC_REGULAR_RANK_6;
  if (HAL_ADC_ConfigChannel(&hadc1, &sConfig) != HAL_OK)
  {
    Error_Handler();
  }

}

static void MX_I2C1_Init(void)
{

  hi2c1.Instance = I2C1;
  hi2c1.Init.ClockSpeed = 400000;
  hi2c1.Init.DutyCycle = I2C_DUTYCYCLE_2;
  hi2c1.Init.OwnAddress1 = 0;
  hi2c1.Init.AddressingMode = I2C_ADDRESSINGMODE_7BIT;
  hi2c1.Init.DualAddressMode = I2C_DUALADDRESS_DISABLE;
  hi2c1.Init.OwnAddress2 = 0;
  hi2c1.Init.GeneralCallMode = I2C_GENERALCALL_DISABLE;
  hi2c1.Init.NoStretchMode = I2C_NOSTRETCH_DISABLE;
  if (HAL_I2C_Init(&hi2c1) != HAL_OK)
  {
    Error_Handler();
  }

}

static void MX_SPI2_Init(void)
{

  /* SPI2 parameter configuration*/
  hspi2.Instance = SPI2;
  hspi2.Init.Mode = SPI_MODE_MASTER;
  hspi2.Init.Direction = SPI_DIRECTION_2LINES;
  hspi2.Init.DataSize = SPI_DATASIZE_8BIT;
  hspi2.Init.CLKPolarity = SPI_POLARITY_LOW;
  hspi2.Init.CLKPhase = SPI_PHASE_2EDGE;
  hspi2.Init.NSS = SPI_NSS_SOFT;
  hspi2.Init.BaudRatePrescaler = SPI_BAUDRATEPRESCALER_32;
  hspi2.Init.FirstBit = SPI_FIRSTBIT_MSB;
  hspi2.Init.TIMode = SPI_TIMODE_DISABLE;
  hspi2.Init.CRCCalculation = SPI_CRCCALCULATION_DISABLE;
  hspi2.Init.CRCPolynomial = 10;
  if (HAL_SPI_Init(&hspi2) != HAL_OK)
  {
    Error_Handler();
  }

}

static void MX_TIM2_Init(void)
{

  TIM_ClockConfigTypeDef sClockSourceConfig = {0};
  TIM_MasterConfigTypeDef sMasterConfig = {0};

  htim2.Instance = TIM2;
  htim2.Init.Prescaler = 127;
  htim2.Init.CounterMode = TIM_COUNTERMODE_UP;
  htim2.Init.Period = 49999;
  htim2.Init.ClockDivision = TIM_CLOCKDIVISION_DIV1;
  htim2.Init.AutoReloadPreload = TIM_AUTORELOAD_PRELOAD_DISABLE;
  if (HAL_TIM_Base_Init(&htim2) != HAL_OK)
  {
    Error_Handler();
  }
  sClockSourceConfig.ClockSource = TIM_CLOCKSOURCE_INTERNAL;
  if (HAL_TIM_ConfigClockSource(&htim2, &sClockSourceConfig) != HAL_OK)
  {
    Error_Handler();
  }
  sMasterConfig.MasterOutputTrigger = TIM_TRGO_RESET;
  sMasterConfig.MasterSlaveMode = TIM_MASTERSLAVEMODE_DISABLE;
  if (HAL_TIMEx_MasterConfigSynchronization(&htim2, &sMasterConfig) != HAL_OK)
  {
    Error_Handler();
  }

}

static void MX_TIM3_Init(void)
{

  TIM_ClockConfigTypeDef sClockSourceConfig = {0};
  TIM_MasterConfigTypeDef sMasterConfig = {0};
  TIM_OC_InitTypeDef sConfigOC = {0};

  htim3.Instance = TIM3;
  htim3.Init.Prescaler = 249;
  htim3.Init.CounterMode = TIM_COUNTERMODE_UP;
  htim3.Init.Period = 255;
  htim3.Init.ClockDivision = TIM_CLOCKDIVISION_DIV1;
  htim3.Init.AutoReloadPreload = TIM_AUTORELOAD_PRELOAD_DISABLE;
  if (HAL_TIM_Base_Init(&htim3) != HAL_OK)
  {
    Error_Handler();
  }
  sClockSourceConfig.ClockSource = TIM_CLOCKSOURCE_INTERNAL;
  if (HAL_TIM_ConfigClockSource(&htim3, &sClockSourceConfig) != HAL_OK)
  {
    Error_Handler();
  }
  if (HAL_TIM_PWM_Init(&htim3) != HAL_OK)
  {
    Error_Handler();
  }
  sMasterConfig.MasterOutputTrigger = TIM_TRGO_RESET;
  sMasterConfig.MasterSlaveMode = TIM_MASTERSLAVEMODE_DISABLE;
  if (HAL_TIMEx_MasterConfigSynchronization(&htim3, &sMasterConfig) != HAL_OK)
  {
    Error_Handler();
  }
  sConfigOC.OCMode = TIM_OCMODE_PWM1;
  sConfigOC.Pulse = 0;
  sConfigOC.OCPolarity = TIM_OCPOLARITY_HIGH;
  sConfigOC.OCFastMode = TIM_OCFAST_DISABLE;
  if (HAL_TIM_PWM_ConfigChannel(&htim3, &sConfigOC, TIM_CHANNEL_1) != HAL_OK)
  {
    Error_Handler();
  }
  if (HAL_TIM_PWM_ConfigChannel(&htim3, &sConfigOC, TIM_CHANNEL_2) != HAL_OK)
  {
    Error_Handler();
  }
  if (HAL_TIM_PWM_ConfigChannel(&htim3, &sConfigOC, TIM_CHANNEL_3) != HAL_OK)
  {
    Error_Handler();
  }
  HAL_TIM_MspPostInit(&htim3);

}

static void MX_TIM4_Init(void)
{

  TIM_ClockConfigTypeDef sClockSourceConfig = {0};
  TIM_MasterConfigTypeDef sMasterConfig = {0};
  TIM_OC_InitTypeDef sConfigOC = {0};

  htim4.Instance = TIM4;
  htim4.Init.Prescaler = 63;
  htim4.Init.CounterMode = TIM_COUNTERMODE_UP;
  htim4.Init.Period = 19999;
  htim4.Init.ClockDivision = TIM_CLOCKDIVISION_DIV1;
  htim4.Init.AutoReloadPreload = TIM_AUTORELOAD_PRELOAD_DISABLE;
  if (HAL_TIM_Base_Init(&htim4) != HAL_OK)
  {
    Error_Handler();
  }
  sClockSourceConfig.ClockSource = TIM_CLOCKSOURCE_INTERNAL;
  if (HAL_TIM_ConfigClockSource(&htim4, &sClockSourceConfig) != HAL_OK)
  {
    Error_Handler();
  }
  if (HAL_TIM_PWM_Init(&htim4) != HAL_OK)
  {
    Error_Handler();
  }
  sMasterConfig.MasterOutputTrigger = TIM_TRGO_RESET;
  sMasterConfig.MasterSlaveMode = TIM_MASTERSLAVEMODE_DISABLE;
  if (HAL_TIMEx_MasterConfigSynchronization(&htim4, &sMasterConfig) != HAL_OK)
  {
    Error_Handler();
  }
  sConfigOC.OCMode = TIM_OCMODE_PWM1;
  sConfigOC.Pulse = 1500;
  sConfigOC.OCPolarity = TIM_OCPOLARITY_LOW;
  sConfigOC.OCFastMode = TIM_OCFAST_DISABLE;
  if (HAL_TIM_PWM_ConfigChannel(&htim4, &sConfigOC, TIM_CHANNEL_2) != HAL_OK)
  {
    Error_Handler();
  }
  HAL_TIM_MspPostInit(&htim4);

}

static void MX_USART1_UART_Init(void)
{

  huart1.Instance = USART1;
  huart1.Init.BaudRate = 115200;
  huart1.Init.WordLength = UART_WORDLENGTH_8B;
  huart1.Init.StopBits = UART_STOPBITS_1;
  huart1.Init.Parity = UART_PARITY_NONE;
  huart1.Init.Mode = UART_MODE_TX_RX;
  huart1.Init.HwFlowCtl = UART_HWCONTROL_NONE;
  huart1.Init.OverSampling = UART_OVERSAMPLING_16;
  if (HAL_UART_Init(&huart1) != HAL_OK)
  {
    Error_Handler();
  }

}

static void MX_USART2_UART_Init(void)
{

  huart2.Instance = USART2;
  huart2.Init.BaudRate = 115200;
  huart2.Init.WordLength = UART_WORDLENGTH_8B;
  huart2.Init.StopBits = UART_STOPBITS_1;
  huart2.Init.Parity = UART_PARITY_NONE;
  huart2.Init.Mode = UART_MODE_TX_RX;
  huart2.Init.HwFlowCtl = UART_HWCONTROL_NONE;
  huart2.Init.OverSampling = UART_OVERSAMPLING_16;
  if (HAL_UART_Init(&huart2) != HAL_OK)
  {
    Error_Handler();
  }

}

static void MX_DMA_Init(void)
{

  /* DMA controller clock enable */
  __HAL_RCC_DMA1_CLK_ENABLE();

  /* DMA interrupt init */
  /* DMA1_Channel1_IRQn interrupt configuration */
  HAL_NVIC_SetPriority(DMA1_Channel1_IRQn, 0, 0);
  HAL_NVIC_EnableIRQ(DMA1_Channel1_IRQn);

}

static void MX_GPIO_Init(void)
{
  GPIO_InitTypeDef GPIO_InitStruct = {0};

  /* GPIO Ports Clock Enable */
  __HAL_RCC_GPIOC_CLK_ENABLE();
  __HAL_RCC_GPIOD_CLK_ENABLE();
  __HAL_RCC_GPIOA_CLK_ENABLE();
  __HAL_RCC_GPIOB_CLK_ENABLE();

  /*Configure GPIO pin Output Level */
  HAL_GPIO_WritePin(GPIOC, CLCD_D0_Pin|CLCD_D1_Pin|CLCD_D2_Pin|CLCD_D3_Pin
                          |CLCD_EN_Pin|CLCD_RS_Pin, GPIO_PIN_RESET);

  /*Configure GPIO pin Output Level */
  HAL_GPIO_WritePin(GPIOA, LD2_Pin|LED0_Pin|LED1_Pin|LED2_Pin
                          |LED3_Pin, GPIO_PIN_RESET);

  /*Configure GPIO pin Output Level */
  HAL_GPIO_WritePin(SPI2_CS_GPIO_Port, SPI2_CS_Pin, GPIO_PIN_RESET);

  /*Configure GPIO pin Output Level */
  HAL_GPIO_WritePin(WiFi_Reset_GPIO_Port, WiFi_Reset_Pin, GPIO_PIN_SET);

  /*Configure GPIO pins : B1_Pin EN_A_SIG_Pin */
  GPIO_InitStruct.Pin = B1_Pin|EN_A_SIG_Pin;
  GPIO_InitStruct.Mode = GPIO_MODE_IT_RISING;
  GPIO_InitStruct.Pull = GPIO_NOPULL;
  HAL_GPIO_Init(GPIOC, &GPIO_InitStruct);

  /*Configure GPIO pins : CLCD_D0_Pin CLCD_D1_Pin CLCD_D2_Pin CLCD_D3_Pin
                           CLCD_EN_Pin CLCD_RS_Pin */
  GPIO_InitStruct.Pin = CLCD_D0_Pin|CLCD_D1_Pin|CLCD_D2_Pin|CLCD_D3_Pin
                          |CLCD_EN_Pin|CLCD_RS_Pin;
  GPIO_InitStruct.Mode = GPIO_MODE_OUTPUT_PP;
  GPIO_InitStruct.Pull = GPIO_NOPULL;
  GPIO_InitStruct.Speed = GPIO_SPEED_FREQ_LOW;
  HAL_GPIO_Init(GPIOC, &GPIO_InitStruct);

  /*Configure GPIO pins : LD2_Pin LED0_Pin LED1_Pin LED2_Pin
                           LED3_Pin */
  GPIO_InitStruct.Pin = LD2_Pin|LED0_Pin|LED1_Pin|LED2_Pin
                          |LED3_Pin;
  GPIO_InitStruct.Mode = GPIO_MODE_OUTPUT_PP;
  GPIO_InitStruct.Pull = GPIO_NOPULL;
  GPIO_InitStruct.Speed = GPIO_SPEED_FREQ_LOW;
  HAL_GPIO_Init(GPIOA, &GPIO_InitStruct);

  /*Configure GPIO pins : SW0_Pin SW1_Pin SW2_Pin SW3_Pin */
  GPIO_InitStruct.Pin = SW0_Pin|SW1_Pin|SW2_Pin|SW3_Pin;
  GPIO_InitStruct.Mode = GPIO_MODE_IT_RISING_FALLING;
  GPIO_InitStruct.Pull = GPIO_NOPULL;
  HAL_GPIO_Init(GPIOB, &GPIO_InitStruct);

  /*Configure GPIO pins : SPI2_CS_Pin WiFi_Reset_Pin */
  GPIO_InitStruct.Pin = SPI2_CS_Pin|WiFi_Reset_Pin;
  GPIO_InitStruct.Mode = GPIO_MODE_OUTPUT_PP;
  GPIO_InitStruct.Pull = GPIO_NOPULL;
  GPIO_InitStruct.Speed = GPIO_SPEED_FREQ_LOW;
  HAL_GPIO_Init(GPIOB, &GPIO_InitStruct);

  /*Configure GPIO pin : EN_SW_Pin */
  GPIO_InitStruct.Pin = EN_SW_Pin;
  GPIO_InitStruct.Mode = GPIO_MODE_IT_FALLING;
  GPIO_InitStruct.Pull = GPIO_NOPULL;
  HAL_GPIO_Init(EN_SW_GPIO_Port, &GPIO_InitStruct);

  /*Configure GPIO pin : EN_B_SIG_Pin */
  GPIO_InitStruct.Pin = EN_B_SIG_Pin;
  GPIO_InitStruct.Mode = GPIO_MODE_IT_RISING;
  GPIO_InitStruct.Pull = GPIO_NOPULL;
  HAL_GPIO_Init(EN_B_SIG_GPIO_Port, &GPIO_InitStruct);

  /* EXTI interrupt init*/
  HAL_NVIC_SetPriority(EXTI1_IRQn, 0, 0);
  HAL_NVIC_EnableIRQ(EXTI1_IRQn);

  HAL_NVIC_SetPriority(EXTI2_IRQn, 0, 0);
  HAL_NVIC_EnableIRQ(EXTI2_IRQn);

  HAL_NVIC_SetPriority(EXTI4_IRQn, 0, 0);
  HAL_NVIC_EnableIRQ(EXTI4_IRQn);

  HAL_NVIC_SetPriority(EXTI9_5_IRQn, 0, 0);
  HAL_NVIC_EnableIRQ(EXTI9_5_IRQn);

  HAL_NVIC_SetPriority(EXTI15_10_IRQn, 0, 0);
  HAL_NVIC_EnableIRQ(EXTI15_10_IRQn);

}

/* USER CODE BEGIN 4 */
void HAL_TIM_PeriodElapsedCallback (TIM_HandleTypeDef *htim)
{
  static uint8_t timerCnt = 0;
  if (htim->Instance == TIM2)  // 10Hz(100msec) Timer
    {
      if (++timerCnt >= 10)
        {
          timerCnt = 0;
          gfPub = 1;
        }
    }
}

void HAL_UART_RxCpltCallback (UART_HandleTypeDef *UartHandle)
{
  uint8_t rx;

  if (UartHandle->Instance == USART1)
    {
      rx = (uint8_t) (UartHandle->Instance->DR & (uint8_t) 0x00FF);
      RB_write (&gUart1Fifo, rx);
    }
  if (UartHandle->Instance == USART2)
    {
      rx = (uint8_t) (UartHandle->Instance->DR & (uint8_t) 0x00FF);
      RB_write (&gUart2Fifo, rx);
    }
}

void HAL_GPIO_EXTI_Callback (uint16_t GPIO_Pin)
{
  switch (GPIO_Pin)
    {
    case GPIO_PIN_8: // Encoder SW
      gEnCoderCnt = 0;
      break;

    case GPIO_PIN_12: // Encoder A_SIG
      if (!HAL_GPIO_ReadPin (EN_B_SIG_GPIO_Port, EN_B_SIG_Pin))
        gEnCoderCnt++;
      break;

    case GPIO_PIN_15: // Encoder B_SIG
      if (!HAL_GPIO_ReadPin (EN_A_SIG_GPIO_Port, EN_A_SIG_Pin))
        gEnCoderCnt--;
      break;

    case B1_Pin:
      // Set WiFiBridge Reset Flag
      gfSoftReset = 1;
      break;
    }

}
/* USER CODE END 4 */

void Error_Handler(void)
{
  /* USER CODE BEGIN Error_Handler_Debug */
  /* User can add his own implementation to report the HAL error return state */
  __disable_irq();
  while (1)
  {
      HAL_GPIO_TogglePin(LD2_GPIO_Port, LD2_Pin);
      HAL_Delay(100);
  }
  /* USER CODE END Error_Handler_Debug */
}

/************************ (C) COPYRIGHT STMicroelectronics *****END OF FILE****/
